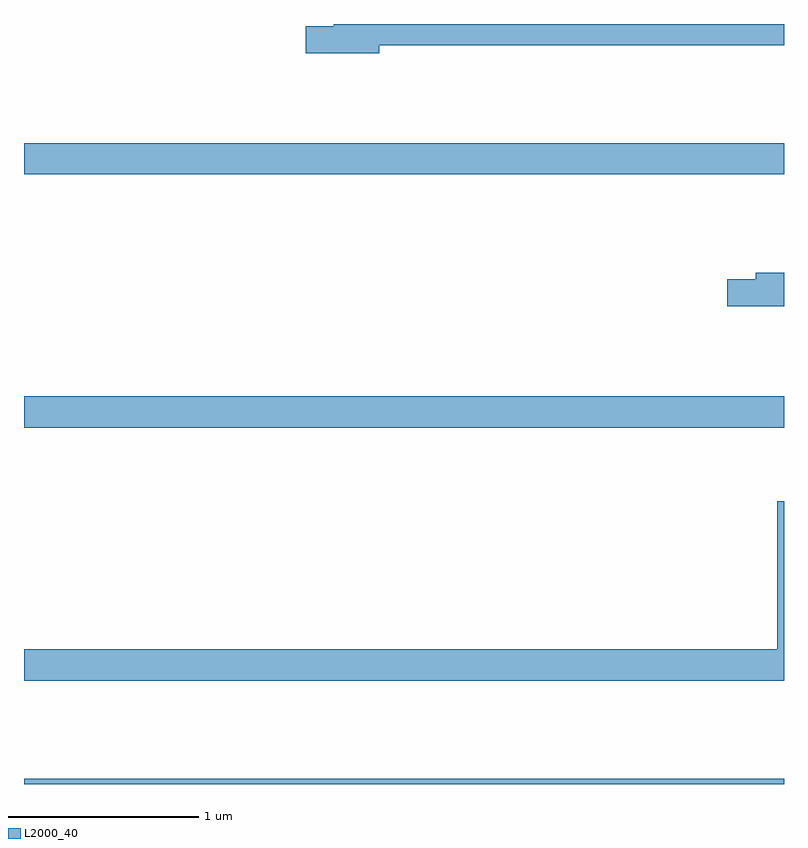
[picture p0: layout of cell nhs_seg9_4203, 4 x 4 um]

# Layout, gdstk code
import gdstk
lib = gdstk.Library(unit=1e-6, precision=1e-09)
def R(c, l, rs):  # rectangles x0, y0, x1, y1
    for r in rs: c.add(gdstk.rectangle(r[:2], r[2:], *l))
def P(c, l, *ps):  # polygons
    for p in ps: c.add(gdstk.Polygon(p, *l))
L2000_40 = (2000, 40)

nhs_seg9_4203 = lib.new_cell('nhs_seg9_4203')
R(nhs_seg9_4203, L2000_40, [(351,1238.5,355,1238.528), (351,1240.376,355,1240.54), (351,1241.708,355,1241.872)])
P(nhs_seg9_4203, L2000_40, [(352.87,1242.388),(355,1242.388),(355,1242.5),(352.631,1242.5),(352.631,1242.488),(352.482,1242.488),(352.482,1242.346),(352.87,1242.346)],
  [(355,1241.192),(354.851,1241.192),(354.851,1241.156),(354.702,1241.156),(354.702,1241.014),(355,1241.014)],
  [(355,1239.988),(354.965,1239.988),(354.965,1239.208),(351,1239.208),(351,1239.044),(355,1239.044)])

lib.write_gds('nhs_seg9_4203.gds')
